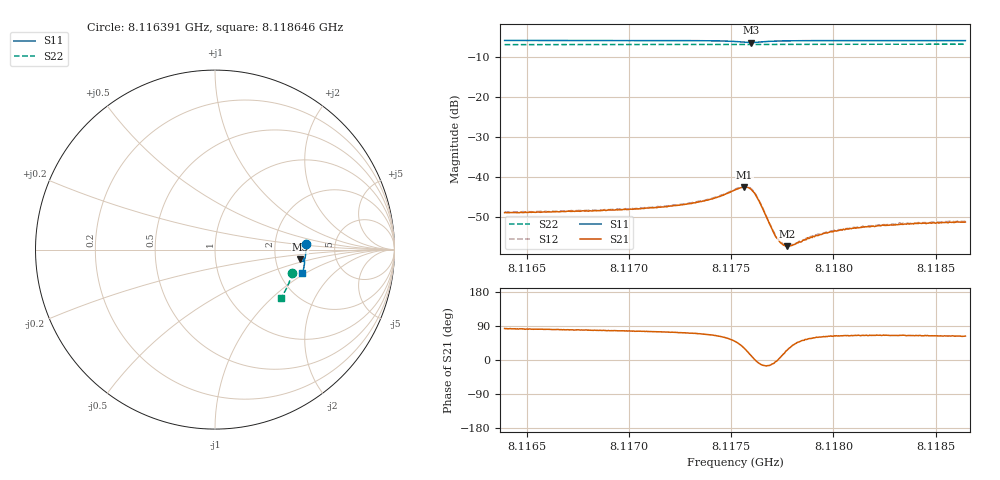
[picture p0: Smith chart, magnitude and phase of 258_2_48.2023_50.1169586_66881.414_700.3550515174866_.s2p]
#  HZ  S  RI  R  50.00
! Rohde & Schwarz Vector Network Analyzer
! Rohde-Schwarz,ZNB20-2Port,1311601062101988,3.16
! Created: UTC 3/20/2024, 11:47:39 AM
! freq[Hz]  re:S11  im:S11  re:S21  im:S21  re:S12  im:S12  re:S22  im:S22
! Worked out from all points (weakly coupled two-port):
!   401 points, 8.116391 GHz to 8.118646 GHz, reference 50 ohm
!   highest |S21| = -42.49 dB at 8.117564 GHz (marker M1); lowest = -57.3 dB at 8.117772 GHz (marker M2)
!   lowest |S11| = -6.4 dB at 8.117598 GHz (marker M3), VSWR 2.83, Z = 138 - j19.5 ohm
!   |S11| at or under -10 dB: nowhere
!   |S22| runs from -6.9 to -6.8 dB; largest |S21 - S12| = 0.00022
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8.1163913e9  0.5061 0.0291  0.000434 0.00355  0.000547 0.0036  0.4306 -0.1284
8.116769e9  0.5063 0.000419  0.000702 0.0037  0.000757 0.00373  0.4236 -0.1534
8.1171466e9  0.5045 -0.0294  0.00111 0.00405  0.0012 0.00406  0.4147 -0.1785
8.1172706e9  0.503 -0.04  0.00141 0.0043  0.0015 0.00436  0.4116 -0.1866
8.1173664e9  0.5008 -0.0491  0.00187 0.00465  0.00193 0.00471  0.4088 -0.1927
8.117451e9  0.4965 -0.0578  0.00275 0.0051  0.00288 0.0052  0.4063 -0.1983
8.1175186e9  0.4883 -0.0646  0.00451 0.00521  0.00463 0.00524  0.4041 -0.2025
8.1175637e9  0.4782 -0.0631  0.00643 0.00387  0.00658 0.00385  0.4024 -0.205
8.1175806e9  0.4752 -0.0596  0.00689 0.00273  0.00704 0.00269  0.4019 -0.2058
8.1175975e9  0.4742 -0.0546  0.00686 0.00137  0.007 0.00136  0.4014 -0.2066
8.1176144e9  0.4762 -0.0498  0.00627 0.000144  0.00634 8.78e-05  0.401 -0.2074
8.1176313e9  0.4801 -0.0467  0.00522 -0.00062  0.00532 -0.000697  0.4008 -0.2086
8.1177046e9  0.4941 -0.051  0.00206 -0.000357  0.00209 -0.000403  0.3992 -0.2131
8.1177272e9  0.496 -0.0541  0.00169 -1.69e-05  0.00169 1.14e-05  0.3985 -0.2146
8.1177497e9  0.4972 -0.057  0.00142 0.000323  0.00146 0.000309  0.3981 -0.2162
8.1177723e9  0.498 -0.0597  0.00123 0.000581  0.0013 0.000558  0.3975 -0.2176
8.1178004e9  0.4985 -0.0631  0.00109 0.000882  0.00112 0.000876  0.3964 -0.2194
8.1178963e9  0.4987 -0.0729  0.000937 0.00148  0.000961 0.00154  0.3934 -0.2255
8.1179639e9  0.4984 -0.0789  0.000933 0.00177  0.000969 0.0018  0.3912 -0.2298
8.1180372e9  0.4975 -0.0852  0.000955 0.00196  0.000969 0.00198  0.3888 -0.2344
8.1182739e9  0.494 -0.104  0.00106 0.00226  0.00111 0.00233  0.3806 -0.2486
8.1186459e9  0.4873 -0.1315  0.00123 0.00244  0.00129 0.00248  0.3665 -0.2708
